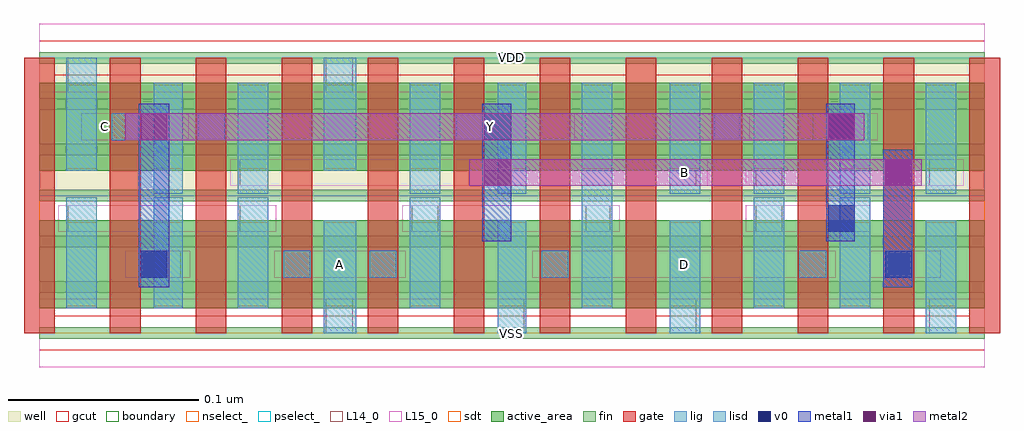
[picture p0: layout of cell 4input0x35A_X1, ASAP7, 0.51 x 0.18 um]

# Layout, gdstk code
import gdstk
lib = gdstk.Library(unit=1e-6, precision=1e-09)
def R(c, l, rs):  # rectangles x0, y0, x1, y1
    for r in rs: c.add(gdstk.rectangle(r[:2], r[2:], *l))
def A(c, l, x, y, w, h, nx, ny, dx, dy):  # array of equal rectangles
    R(c, l, [(x+i*dx, y+j*dy, x+i*dx+w, y+j*dy+h) for i in range(nx) for j in range(ny)])
def P(c, l, *ps):  # polygons
    for p in ps: c.add(gdstk.Polygon(p, *l))
well = (1, 0)
fin = (2, 0)
gate = (7, 0)
gcut = (10, 0)
active_area = (11, 0)
nselect_ = (12, 0)
pselect_ = (13, 0)
L14_0 = (14, 0)
L15_0 = (15, 0)
lig = (16, 0)
lisd = (17, 0)
v0 = (18, 0)
metal1 = (19, 0)
metal2 = (20, 0)
via1 = (21, 0)
sdt = (88, 0)
boundary = (100, 0)

c_4input0x35a_x1 = lib.new_cell('4input0x35A_X1')
R(c_4input0x35a_x1, well, [(0,0.072,0.495,0.144)])
A(c_4input0x35a_x1, fin, 0, -0.003, 0.495, 0.006, 1, 7, 0, 0.024)
A(c_4input0x35a_x1, gate, -0.008, 0, 0.016, 0.144, 12, 1, 0.045, 0)
P(c_4input0x35a_x1, gcut, [(0,-0.009),(0,0),(-0.008,0),(-0.008,0.135),(0.008,0.135),(0.008,0.009),(0.307,0.009),(0.307,0.135),(0.323,0.135),(0.323,0.009),(0.487,0.009),(0.487,0.135),(-0.008,0.135),(-0.008,0.144),(0,0.144),(0,0.153),(0.495,0.153),(0.495,0.144),(0.503,0.144),(0.503,0),(0.495,0),(0.495,-0.009)])
R(c_4input0x35a_x1, active_area, [(0,0.013,0.495,0.059), (0,0.085,0.495,0.131)])
R(c_4input0x35a_x1, nselect_, [(0,0,0.495,0.072)])
R(c_4input0x35a_x1, pselect_, [(0,0.072,0.495,0.144)])
A(c_4input0x35a_x1, L14_0, 0.15, 0, 0.014, 0.018, 3, 1, 0.09, 0)
A(c_4input0x35a_x1, L14_0, 0.083, 0.101, 0.014, 0.014, 3, 1, 0.135, 0)
R(c_4input0x35a_x1, L14_0, [(0.466,0,0.48,0.018), (0.06,0.029,0.074,0.043), (0.128,0.029,0.142,0.043), (0.173,0.029,0.187,0.043), (0.263,0.029,0.277,0.043), (0.398,0.029,0.412,0.043), (0.443,0.029,0.457,0.043), (0.015,0.053,0.03,0.067), (0.105,0.053,0.12,0.067), (0.195,0.053,0.209,0.067), (0.286,0.053,0.299,0.067), (0.375,0.053,0.389,0.067), (0.105,0.077,0.12,0.091), (0.33,0.077,0.344,0.091), (0.375,0.077,0.389,0.091), (0.466,0.077,0.48,0.091), (0.038,0.101,0.052,0.115), (0.286,0.101,0.299,0.115), (0.42,0.101,0.434,0.115), (0.015,0.126,0.03,0.144), (0.15,0.126,0.164,0.144)])
R(c_4input0x35a_x1, L15_0, [(0,-0.018,0.495,0.018), (0.045,0.029,0.079,0.043), (0.123,0.029,0.192,0.043), (0.258,0.029,0.417,0.043), (0.435,0.029,0.472,0.043), (0.01,0.053,0.124,0.067), (0.19,0.053,0.304,0.067), (0.37,0.053,0.435,0.067), (0.1,0.077,0.35,0.091), (0.37,0.077,0.484,0.091), (0.022,0.101,0.057,0.115), (0.078,0.101,0.255,0.115), (0.28,0.101,0.372,0.115), (0.405,0.101,0.439,0.115), (0,0.126,0.495,0.162)])
A(c_4input0x35a_x1, lig, 0.083, 0.101, 0.014, 0.014, 3, 1, 0.135, 0)
R(c_4input0x35a_x1, lig, [(0.128,0.029,0.142,0.043), (0.173,0.029,0.187,0.043), (0.263,0.029,0.277,0.043), (0.398,0.029,0.412,0.043), (0.443,0.029,0.457,0.043), (0.038,0.101,0.052,0.115)])
A(c_4input0x35a_x1, lisd, 0.014, 0.013, 0.016, 0.058, 3, 1, 0.09, 0)
A(c_4input0x35a_x1, lisd, 0.374, 0.073, 0.016, 0.058, 3, 1, 0.045, 0)
R(c_4input0x35a_x1, lisd, [(0.149,0,0.166,0.059), (0.24,0,0.255,0.059), (0.33,0,0.346,0.059), (0.464,0,0.48,0.059), (0.06,0.013,0.075,0.071), (0.284,0.013,0.3,0.131), (0.374,0.013,0.39,0.071), (0.419,0.013,0.435,0.071), (0.06,0.073,0.075,0.131), (0.104,0.073,0.12,0.131), (0.194,0.073,0.21,0.131), (0.24,0.073,0.255,0.131), (0.33,0.073,0.346,0.131), (0.014,0.085,0.03,0.144), (0.149,0.085,0.166,0.144)])
R(c_4input0x35a_x1, v0, [(0.053,0.029,0.067,0.043), (0.443,0.029,0.457,0.043), (0.413,0.053,0.427,0.067), (0.233,0.101,0.247,0.115), (0.413,0.101,0.427,0.115)])
R(c_4input0x35a_x1, metal1, [(0.052,0.024,0.068,0.12), (0.442,0.024,0.457,0.096), (0.232,0.048,0.247,0.12), (0.412,0.048,0.427,0.12)])
R(c_4input0x35a_x1, metal2, [(0.225,0.077,0.462,0.091), (0.045,0.101,0.432,0.115)])
R(c_4input0x35a_x1, via1, [(0.233,0.077,0.247,0.091), (0.443,0.077,0.457,0.091), (0.053,0.101,0.067,0.115), (0.413,0.101,0.427,0.115)])
A(c_4input0x35a_x1, sdt, 0.014, 0.014, 0.016, 0.044, 4, 2, 0.09, 0.072)
A(c_4input0x35a_x1, sdt, 0.374, 0.014, 0.016, 0.044, 3, 2, 0.045, 0.072)
R(c_4input0x35a_x1, sdt, [(0.06,0.014,0.075,0.058), (0.149,0.014,0.166,0.058), (0.24,0.014,0.255,0.058), (0.33,0.014,0.346,0.058), (0.06,0.086,0.075,0.13), (0.149,0.086,0.166,0.13), (0.24,0.086,0.255,0.13), (0.33,0.086,0.346,0.13)])
R(c_4input0x35a_x1, boundary, [(0,0,0.495,0.144)])
c_4input0x35a_x1.add(gdstk.Label('VSS', (0.247,0), layer=15, texttype=251))
c_4input0x35a_x1.add(gdstk.Label('VDD', (0.247,0.144), layer=15, texttype=251))
c_4input0x35a_x1.add(gdstk.Label('A', (0.157,0.036), layer=15, texttype=251))
c_4input0x35a_x1.add(gdstk.Label('VSS', (0.247,0), layer=15, texttype=251))
c_4input0x35a_x1.add(gdstk.Label('VDD', (0.247,0.144), layer=15, texttype=251))
c_4input0x35a_x1.add(gdstk.Label('VSS', (0.247,0), layer=15, texttype=251))
c_4input0x35a_x1.add(gdstk.Label('VDD', (0.247,0.144), layer=15, texttype=251))
c_4input0x35a_x1.add(gdstk.Label('D', (0.338,0.036), layer=15, texttype=251))
c_4input0x35a_x1.add(gdstk.Label('VSS', (0.247,0), layer=15, texttype=251))
c_4input0x35a_x1.add(gdstk.Label('VDD', (0.247,0.144), layer=15, texttype=251))
c_4input0x35a_x1.add(gdstk.Label('C', (0.034,0.108), layer=15, texttype=251))
c_4input0x35a_x1.add(gdstk.Label('VSS', (0.247,0), layer=15, texttype=251))
c_4input0x35a_x1.add(gdstk.Label('VDD', (0.247,0.144), layer=15, texttype=251))
c_4input0x35a_x1.add(gdstk.Label('B', (0.338,0.084), layer=20, texttype=251))
c_4input0x35a_x1.add(gdstk.Label('Y', (0.236,0.108), layer=20, texttype=251))
c_4input0x35a_x1.add(gdstk.Label('VSS', (0.247,0), layer=3, texttype=251))
c_4input0x35a_x1.add(gdstk.Label('VSS', (0.247,0), layer=3, texttype=251))
c_4input0x35a_x1.add(gdstk.Label('VSS', (0.247,0), layer=3, texttype=251))
c_4input0x35a_x1.add(gdstk.Label('VSS', (0.247,0), layer=3, texttype=251))
c_4input0x35a_x1.add(gdstk.Label('VSS', (0.247,0), layer=3, texttype=251))
c_4input0x35a_x1.add(gdstk.Label('VDD', (0.247,0.144), layer=1, texttype=251))
c_4input0x35a_x1.add(gdstk.Label('VDD', (0.247,0.144), layer=1, texttype=251))
c_4input0x35a_x1.add(gdstk.Label('VDD', (0.247,0.144), layer=1, texttype=251))
c_4input0x35a_x1.add(gdstk.Label('VDD', (0.247,0.144), layer=1, texttype=251))
c_4input0x35a_x1.add(gdstk.Label('VDD', (0.247,0.144), layer=1, texttype=251))

lib.write_gds('4input0x35A_X1.gds')
